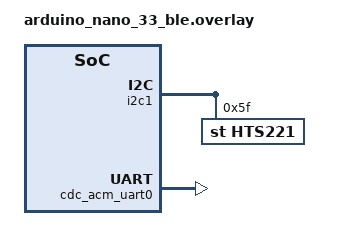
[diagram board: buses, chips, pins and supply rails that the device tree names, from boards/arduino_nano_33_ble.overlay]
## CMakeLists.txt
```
# Copyright (c) 2021 Przemyslaw Bida
# SPDX-License-Identifier: Apache-2.0

cmake_minimum_required(VERSION 3.20.0)

find_package(Zephyr REQUIRED HINTS $ENV{ZEPHYR_BASE})

project(ot-sensor)

target_sources(app PRIVATE src/main.c)
```

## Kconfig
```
#
# Copyright (c) 2020 Nordic Semiconductor ASA
#
# SPDX-License-Identifier: LicenseRef-Nordic-5-Clause
#

menu "Zephyr Kernel"
source "Kconfig.zephyr"
endmenu

module = OT_SENSOR_HTS
module-str = sensor_hts
source "${ZEPHYR_BASE}/subsys/logging/Kconfig.template.log_config"
```

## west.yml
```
# Copyright (c) 2021 Przemyslaw Bida
# SPDX-License-Identifier: Apache-2.0

manifest:
  self:
    path: ot-sensor

  remotes:
    - name: ncs
      url-base: https://github.com/nrfconnect

  projects:
    - name: sdk-nrf
      remote: ncs
      revision: v2.2.0
      path: nrf
      import: true
```

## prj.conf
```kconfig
# Copyright (c) 2021 Przemyslaw Bida
# SPDX-License-Identifier: Apache-2.0

CONFIG_NET_CONFIG_LOG_LEVEL_INF=y

# Network shell
CONFIG_SHELL=y
CONFIG_OPENTHREAD_SHELL=y
CONFIG_SHELL_ARGC_MAX=26
CONFIG_SHELL_CMD_BUFF_SIZE=416

# Enable OpenThread features set
CONFIG_OPENTHREAD_NORDIC_LIBRARY_MASTER=y

CONFIG_NET_L2_OPENTHREAD=y

# Generic networking options
CONFIG_NETWORKING=y

CONFIG_OPENTHREAD_L2_LOG_LEVEL_INF=y
CONFIG_ASSERT=y
CONFIG_ASSERT_NO_COND_INFO=y
CONFIG_ASSERT_NO_MSG_INFO=y
CONFIG_MBEDTLS_SHA1_C=n
CONFIG_FPU=y
CONFIG_OPENTHREAD_DEBUG=y
CONFIG_OPENTHREAD_L2_DEBUG=y

CONFIG_GPIO_SHELL=y

# Enable CoAP utils and CoAP protocol
CONFIG_COAP_UTILS=y
# Network sockets
CONFIG_NET_SOCKETS=y
CONFIG_NET_SOCKETS_POSIX_NAMES=y
CONFIG_NET_SOCKETS_POLL_MAX=4

CONFIG_OPENTHREAD_NETWORKKEY="00:11:22:33:44:55:66:77:88:99:aa:bb:cc:dd:ee:ff"
CONFIG_OPENTHREAD_NETWORK_NAME="OpenThread-7cf7"
CONFIG_OPENTHREAD_XPANID="3b:78:ce:62:9c:bc:8e:23"
CONFIG_OPENTHREAD_PANID=31991

CONFIG_LOG=y
```

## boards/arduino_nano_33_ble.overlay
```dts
/* Copyright (c) 2020 Nordic Semiconductor ASA
 *
 * SPDX-License-Identifier: LicenseRef-Nordic-5-Clause
 */

 &i2c1 {
    hts221@5f {
        compatible = "st,hts221";
        reg = <0x5f>;
        label = "HTS221";
        status = "okay";
    };
};

&zephyr_udc0 {
	cdc_acm_uart0: cdc_acm_uart0 {
		compatible = "zephyr,cdc-acm-uart";
		label = "CDC_ACM_0";
	};
};

/{
	chosen {
		zephyr,entropy = &rng;
        zephyr,shell-uart = &cdc_acm_uart0;
	};
};
```

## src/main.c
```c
/*
 * Copyright (c) 2020 Nordic Semiconductor ASA
 *
 * SPDX-License-Identifier: LicenseRef-Nordic-5-Clause
 */

#include <zephyr/kernel.h>
#include <zephyr/logging/log.h>

#include <zephyr/drivers/uart.h>


#include <openthread/thread.h>
//#include <coap_server_client_interface.h>
#include <net/coap_utils.h>
#include <zephyr/net/openthread.h>
#include <zephyr/net/socket.h>

#define MY_STACK_SIZE 2048
#define MY_PRIORITY 10

extern void process_sensor_data(void *, void *, void *);

K_THREAD_STACK_DEFINE(my_stack_area, MY_STACK_SIZE);
struct k_thread my_thread_data;

k_tid_t my_tid;

#define RESPONSE_POLL_PERIOD 100

static bool is_connected;

#define COAP_PORT 5683

static struct sockaddr_in6 unique_local_addr = {
	.sin6_family = AF_INET6,
	.sin6_port = htons(COAP_PORT),
	.sin6_addr.s6_addr = {0x00, 0x64, 0xff, 0x9b, 0x00, 0x00, 0x00, 0x00, 0x00, 0x00, 0x00, 0x00, 0x86, 0x66, 0xda, 0x12},
	.sin6_scope_id = 0U
};

static const char *const coap_option[] = { "hello", 0 };

LOG_MODULE_REGISTER(cli_sample, CONFIG_OT_SENSOR_HTS_LOG_LEVEL);

static void on_thread_state_changed(uint32_t flags, void *context);

void coap_client_utils_init()
{
	coap_init(AF_INET6, NULL);

	openthread_set_state_changed_cb(on_thread_state_changed);
	openthread_start(openthread_get_default_context());
}

static void on_thread_state_changed(uint32_t flags, void *context)
{
	struct openthread_context *ot_context = context;

	if (flags & OT_CHANGED_THREAD_ROLE) {
		switch (otThreadGetDeviceRole(ot_context->instance)) {
		case OT_DEVICE_ROLE_CHILD:
		case OT_DEVICE_ROLE_ROUTER:
		case OT_DEVICE_ROLE_LEADER:
			is_connected = true;
			k_wakeup(my_tid);
			break;

		case OT_DEVICE_ROLE_DISABLED:
		case OT_DEVICE_ROLE_DETACHED:
		default:
			is_connected = false;
			break;
		}
	}
}

int coap_reply(const struct coap_packet *response, struct coap_reply *reply, const struct sockaddr *from)
{
	int ret = 0;
	const uint8_t *payload;
	char buf[128] = {0};
	uint16_t payload_size = 0u;

	ARG_UNUSED(reply);
	ARG_UNUSED(from);

	LOG_INF("COAP received.");

	payload = coap_packet_get_payload(response, &payload_size);

	if(payload == NULL)
	{
		LOG_INF("COAP recived invalid data.");
		goto exit;
	}
	memcpy(buf, payload, payload_size);
	LOG_INF("COAP DATA RECEIVED: %s", buf);


exit:
	return ret;
}

void process_sensor_data(void* arg1, void* arg2, void* arg3) {

	ARG_UNUSED(arg1);
	ARG_UNUSED(arg2);
	ARG_UNUSED(arg3);
	while(1) {

		/* display humidity */
		//LOG_INF("Relative Humidity:%d %d", (hum.val1), (hum.val2));
		LOG_INF("Sending coap");
		if (is_connected)
		{
			if (coap_send_request(COAP_METHOD_GET,
				(const struct sockaddr *)&unique_local_addr,
				coap_option, 0, 0, coap_reply) < 0) {
					LOG_ERR("Failed sending coap.");
			} else {
				LOG_INF("COAP send.");
			}
		}
		else
		{
			LOG_INF("COAP Thread not connected.");
		}
		k_msleep(10000);
	}
}

void main(void)
{
	coap_client_utils_init();
	my_tid = k_thread_create(&my_thread_data, my_stack_area,
                                 K_THREAD_STACK_SIZEOF(my_stack_area),
                                 process_sensor_data,
                                 NULL, NULL, NULL,
                                 MY_PRIORITY, 0, K_NO_WAIT);
#if DT_NODE_HAS_COMPAT(DT_CHOSEN(zephyr_shell_uart), zephyr_cdc_acm_uart)
	int ret;
	const struct device *dev;
	uint32_t dtr = 0U;

	ret = usb_enable(NULL);
	if (ret != 0) {
		LOG_ERR("Failed to enable USB");
		return;
	}

	dev = DEVICE_DT_GET(DT_CHOSEN(zephyr_shell_uart));
	if (dev == NULL) {
		LOG_ERR("Failed to find specific UART device");
		return;
	}

	LOG_INF("Waiting for host to be ready to communicate");
	LOG_INF("Waiting for host to be ready to communicate");

	/* Data Terminal Ready - check if host is ready to communicate */
	while (!dtr) {
		ret = uart_line_ctrl_get(dev, UART_LINE_CTRL_DTR, &dtr);
		if (ret) {
			LOG_ERR("Failed to get Data Terminal Ready line state: %d",
				ret);
			continue;
		}
		k_msleep(100);
	}

	(void)uart_line_ctrl_set(dev, UART_LINE_CTRL_DCD, 1);
	(void)uart_line_ctrl_set(dev, UART_LINE_CTRL_DSR, 1);
#endif
}
```
